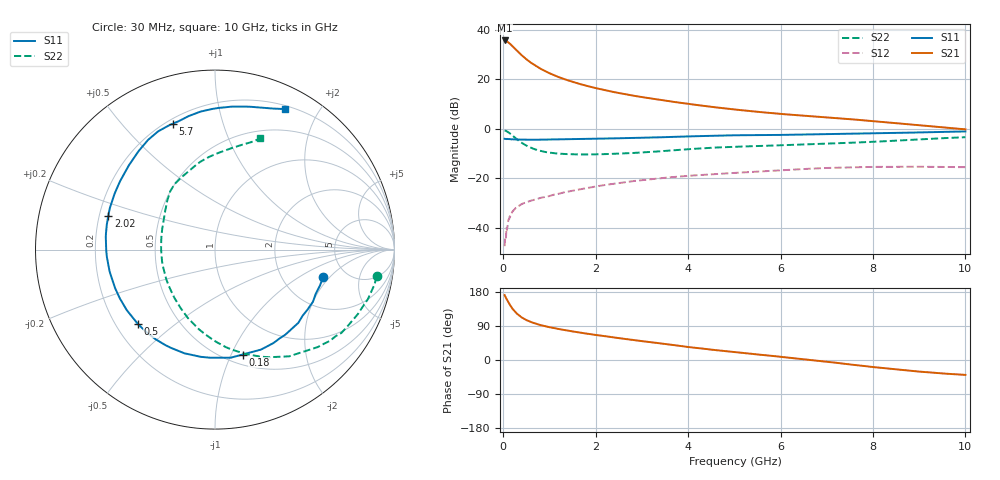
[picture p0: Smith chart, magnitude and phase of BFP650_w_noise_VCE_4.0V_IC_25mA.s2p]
! Infineon Technologies  Discrete & RF Semiconductors
! BFP650
! VCE =  4.0 V,  IC =  25 mA
! Common Emitter S-Parameters:  Jan 2016
# GHz  S  MA  R  50
!  f  S11  S21  S12  S22
! GHz  MAG  ANG  MAG  ANG  MAG  ANG  MAG  ANG
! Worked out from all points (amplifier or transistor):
!   229 points, 30 MHz to 10 GHz, reference 50 ohm
!   highest |S21| = 35.6 dB at 30 MHz (marker M1)
!   |S21| within 3 dB of that: start of sweep to 237.3 MHz
!   unconditionally stable (mu >= 1): 2.349 GHz to end of sweep
!   at 280 MHz: K = 0.33, MSG = 31.8 dB, |S12| = -31.9 dB
!   at 1.78 GHz: K = 0.94, MSG = 20.8 dB, |S12| = -24.1 dB
!   at 10 GHz: K = 1.04, MAG = 6.4 dB, |S12| = -15.6 dB
!   lowest NFmin = 0.71 dB at 450 MHz
!   S11 on the Smith chart (normalised r, x): 30 MHz: 3.39, -1.67; 180 MHz: 0.60, -1.11; 500 MHz: 0.29, -0.37; 2.02 GHz: 0.24, +0.15; 5.7 GHz: 0.22, +0.70; 10 GHz: 0.24, +1.59
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0.03  0.621 -14.1  60.27 171.3  0.0042 51.9  0.9131 -9.4
0.06  0.6183 -28.0  59.25 164.1  0.0062 79.8  0.8957 -17.9
0.08  0.6115 -37.0  57.78 159.2  0.0089 54.6  0.8736 -24.2
0.11  0.6149 -50.6  55.3 152.4  0.0142 68.6  0.8435 -33.4
0.14  0.6127 -61.6  52.29 146.3  0.0168 57.7  0.8025 -40.8
0.18  0.6045 -75.2  48.11 139.2  0.0192 54.7  0.7465 -50.2
0.2  0.6086 -81.7  46.28 135.3  0.021 53.1  0.7242 -55.2
0.26  0.6027 -97.6  40.63 126.8  0.0241 50.7  0.6481 -67.0
0.34  0.5999 -114.0  34.16 117.8  0.0275 47.0  0.5648 -80.5
0.4  0.5994 -123.7  30.25 112.3  0.0298 45.9  0.5156 -89.0
0.5  0.5969 -136.1  25.18 105.4  0.0322 43.8  0.4534 -101.3
0.7  0.5958 -152.8  18.53 95.8  0.0369 43.0  0.3771 -120.7
1  0.5997 -168.4  13.12 86.6  0.0432 43.2  0.3264 -142.4
1.3  0.6058 -179.0  10.12 79.6  0.0509 43.6  0.3073 -158.3
1.7  0.6157 169.9  7.749 71.7  0.0599 42.5  0.3001 -174.5
2.02  0.6235 162.4  6.509 65.8  0.068 41.7  0.3013 175.1
3.4  0.6663 137.3  3.788 43.8  0.0993 31.0  0.3475 143.3
5.1  0.7319 114.6  2.377 19.7  0.1285 16.5  0.4316 120.3
5.7  0.7398 108.5  2.094 12.3  0.1382 11.5  0.449 112.7
6.8  0.7663 98.1  1.74 -1.8  0.1566 0.9  0.4884 101.3
8.4  0.8141 78.2  1.31 -23.5  0.1687 -16.0  0.5626 82.7
10  0.8748 63.5  0.964 -39.3  0.1657 -28.2  0.6681 68.0
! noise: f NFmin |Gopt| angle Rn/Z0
0.45  0.71  0.07  109  2.2
0.9  0.73  0.24  -178  0.13
1.9  0.89  0.31  -164  0.05
2.4  0.97  0.32  -150  0.06
3.5  1.21  0.37  -125  0.13
